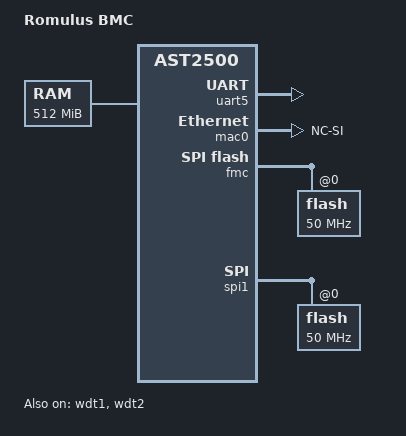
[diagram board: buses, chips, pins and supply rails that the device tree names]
// SPDX-License-Identifier: GPL-2.0+
// Copyright 2022 IBM Corp.
/dts-v1/;

#include "ast2500-u-boot.dtsi"

/ {
	model = "Romulus BMC";
	compatible = "ibm,romulus-bmc", "aspeed,ast2500";

	memory {
		device_type = "memory";
		reg = <0x80000000 0x20000000>;
	};

	chosen {
		stdout-path = &uart5;
	};

	aliases {
		spi0 = &fmc;
		spi1 = &spi1;
		ethernet0 = &mac0;
		ethernet1 = &mac1;
	};
};

&uart5 {
	u-boot,dm-pre-reloc;
	status = "okay";
};

&sdrammc {
	clock-frequency = <400000000>;
};

&wdt1 {
	u-boot,dm-pre-reloc;
	status = "okay";
};

&wdt2 {
	u-boot,dm-pre-reloc;
	status = "okay";
};

&mac0 {
	status = "okay";

	phy-mode = "NC-SI";
	use-ncsi;
	pinctrl-names = "default";
	pinctrl-0 = <&pinctrl_rmii1_default>;
};

&fmc {
	status = "okay";
	flash@0 {
		status = "okay";
		spi-max-frequency = <50000000>;
		spi-tx-bus-width = <2>;
		spi-rx-bus-width = <2>;
	};
};

&spi1 {
	status = "okay";
	flash@0 {
		pinctrl-names = "default";
		pinctrl-0 = <&pinctrl_spi1_default>;
		status = "okay";
		spi-max-frequency = <50000000>;
		spi-tx-bus-width = <2>;
		spi-rx-bus-width = <2>;
	};
};
